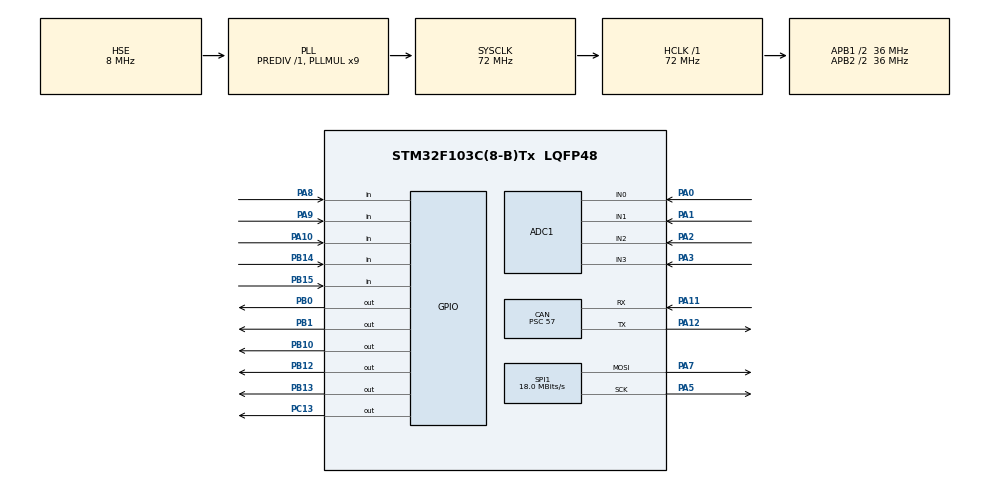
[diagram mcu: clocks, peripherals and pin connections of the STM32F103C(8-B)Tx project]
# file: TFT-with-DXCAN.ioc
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ADC1.Channel-0\#ChannelRegularConversion=ADC_CHANNEL_0
ADC1.Channel-1\#ChannelRegularConversion=ADC_CHANNEL_1
ADC1.Channel-2\#ChannelRegularConversion=ADC_CHANNEL_2
ADC1.Channel-3\#ChannelRegularConversion=ADC_CHANNEL_3
ADC1.ContinuousConvMode=ENABLE
ADC1.NbrOfConversion=4
ADC1.NbrOfConversionFlag=1
ADC1.Rank-0\#ChannelRegularConversion=1
ADC1.Rank-1\#ChannelRegularConversion=2
ADC1.Rank-2\#ChannelRegularConversion=3
ADC1.Rank-3\#ChannelRegularConversion=4
ADC1.SamplingTime-0\#ChannelRegularConversion=ADC_SAMPLETIME_1CYCLE_5
ADC1.SamplingTime-1\#ChannelRegularConversion=ADC_SAMPLETIME_1CYCLE_5
ADC1.SamplingTime-2\#ChannelRegularConversion=ADC_SAMPLETIME_1CYCLE_5
ADC1.SamplingTime-3\#ChannelRegularConversion=ADC_SAMPLETIME_1CYCLE_5
ADC1.master=1
CAN.ABOM=ENABLE
CAN.BS1=CAN_BS1_3TQ
CAN.BS2=CAN_BS2_2TQ
CAN.CalculateBaudRate=105263
CAN.CalculateTimeBit=9500
CAN.CalculateTimeQuantum=1583.3333333333335
CAN.NART=DISABLE
CAN.Prescaler=57
Dma.Request0=SPI1_TX
Dma.SPI1_TX.0.Direction=DMA_MEMORY_TO_PERIPH
Dma.SPI1_TX.0.Instance=DMA1_Channel3
Dma.SPI1_TX.0.MemDataAlignment=DMA_MDATAALIGN_BYTE
Dma.SPI1_TX.0.MemInc=DMA_MINC_ENABLE
Dma.SPI1_TX.0.Mode=DMA_NORMAL
Dma.SPI1_TX.0.PeriphDataAlignment=DMA_PDATAALIGN_BYTE
Dma.SPI1_TX.0.PeriphInc=DMA_PINC_DISABLE
Dma.SPI1_TX.0.Priority=DMA_PRIORITY_LOW
Mcu.Family=STM32F1
Mcu.Name=STM32F103C(8-B)Tx
Mcu.Package=LQFP48
NVIC.DMA1_Channel3_IRQn=true\:0\:0\:false\:false\:true\:false\:true\:true
NVIC.PriorityGroup=NVIC_PRIORITYGROUP_4
NVIC.USB_HP_CAN1_TX_IRQn=true\:0\:0\:false\:false\:true\:true\:true\:true
NVIC.USB_LP_CAN1_RX0_IRQn=true\:0\:0\:false\:false\:true\:true\:true\:true
PA0-WKUP.Signal=ADCx_IN0
PA1.Signal=ADCx_IN1
PA10.Signal=GPIO_Input
PA11.Mode=CAN_Activate
PA11.Signal=CAN_RX
PA12.Mode=CAN_Activate
PA12.Signal=CAN_TX
PA13.Mode=Serial_Wire
PA13.Signal=SYS_JTMS-SWDIO
PA14.Mode=Serial_Wire
PA14.Signal=SYS_JTCK-SWCLK
PA2.Signal=ADCx_IN2
PA3.Signal=ADCx_IN3
PA5.Mode=TX_Only_Simplex_Unidirect_Master
PA5.Signal=SPI1_SCK
PA7.Mode=TX_Only_Simplex_Unidirect_Master
PA7.Signal=SPI1_MOSI
PA8.GPIO_PuPd=GPIO_PULLUP
PA8.Signal=GPIO_Input
PA9.GPIO_PuPd=GPIO_PULLUP
PA9.Signal=GPIO_Input
PB0.Signal=GPIO_Output
PB1.Signal=GPIO_Output
PB10.Signal=GPIO_Output
PB12.Signal=GPIO_Output
PB13.Signal=GPIO_Output
PB14.GPIO_PuPd=GPIO_PULLUP
PB14.Signal=GPIO_Input
PB15.GPIO_PuPd=GPIO_PULLUP
PB15.Signal=GPIO_Input
PC13-TAMPER-RTC.Signal=GPIO_Output
PD0-OSC_IN.Mode=HSE-External-Oscillator
PD0-OSC_IN.Signal=RCC_OSC_IN
PD1-OSC_OUT.Mode=HSE-External-Oscillator
PD1-OSC_OUT.Signal=RCC_OSC_OUT
ProjectManager.HeapSize=0x200
ProjectManager.StackSize=0x400
ProjectManager.TargetToolchain=STM32CubeIDE
RCC.ADCPresc=RCC_ADCPCLK2_DIV4
RCC.AHBFreq_Value=72000000
RCC.APB1CLKDivider=RCC_HCLK_DIV2
RCC.APB1Freq_Value=36000000
RCC.APB1TimFreq_Value=72000000
RCC.APB2CLKDivider=RCC_HCLK_DIV2
RCC.APB2Freq_Value=36000000
RCC.APB2TimFreq_Value=72000000
RCC.HCLKFreq_Value=72000000
RCC.PLLMUL=RCC_PLL_MUL9
RCC.PLLSourceVirtual=RCC_PLLSOURCE_HSE
RCC.SYSCLKFreq_VALUE=72000000
RCC.SYSCLKSource=RCC_SYSCLKSOURCE_PLLCLK
RCC.USBFreq_Value=72000000
SH.ADCx_IN0.0=ADC1_IN0,IN0
SH.ADCx_IN1.0=ADC1_IN1,IN1
SH.ADCx_IN2.0=ADC1_IN2,IN2
SH.ADCx_IN3.0=ADC1_IN3,IN3
SPI1.BaudRatePrescaler=SPI_BAUDRATEPRESCALER_2
SPI1.CalculateBaudRate=18.0 MBits/s
SPI1.Direction=SPI_DIRECTION_2LINES
SPI1.Mode=SPI_MODE_MASTER
SPI1.VirtualType=VM_MASTER
board=custom

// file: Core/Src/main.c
/* USER CODE BEGIN Header */
/**

  TFT Display with CAN

  STM32F103C8T6 "BluePill"
  TFT with ILI9341 via SPI
  CAN

  ADC without DMA is explained here: https://controllerstech.com/stm32-adc-multi-channel-without-dma/

  */
/* USER CODE END Header */
#include "main.h"

/* USER CODE BEGIN Includes */
#include "canbus.h"
#include <stdio.h>
#include "testGraphics.h"
#include "flashhandler.h"
#include "ILI9341_STM32_Driver.h"
#include "ILI9341_GFX.h"
#include "scheduler.h"
#include "hardwareinterface.h"
#include "powermodule.h"

/* USER CODE END Includes */

ADC_HandleTypeDef hadc1;

CAN_HandleTypeDef hcan;

SPI_HandleTypeDef hspi1;
DMA_HandleTypeDef hdma_spi1_tx;

/* USER CODE BEGIN PV */
CAN_TxHeaderTypeDef   TxHeader;
uint8_t               TxData[8];
uint32_t              TxMailbox;
CAN_RxHeaderTypeDef canRxMsgHdr;
uint8_t canRxData[8];
uint16_t adcValues[4];

/* USER CODE END PV */

void SystemClock_Config(void);
static void MX_GPIO_Init(void);
static void MX_DMA_Init(void);
static void MX_SPI1_Init(void);
static void MX_CAN_Init(void);
static void MX_ADC1_Init(void);

/* USER CODE BEGIN 0 */
void canbus_demoTransmit(void) {
  long int rc;
  uint32_t uptime_s;
  uptime_s = HAL_GetTick() / 1000; /* the uptime in seconds */
  TxHeader.IDE = CAN_ID_STD;
  TxHeader.StdId = 0x567;
  TxHeader.RTR = CAN_RTR_DATA;
  TxHeader.DLC = 8;

  TxData[0] = (uint8_t)(uptime_s>>16);
  TxData[1] = (uint8_t)(uptime_s>>8);
  TxData[2] = (uint8_t)(uptime_s);
  TxData[3] = (uint8_t)(444>>8);
  TxData[4] = (uint8_t)(444);
  TxData[5] = 5;
  TxData[6] = 0xAF;
  TxData[7] = 0xFE;

  rc = HAL_CAN_AddTxMessage(&hcan, &TxHeader, TxData, &TxMailbox);
  if (rc != HAL_OK)
  {
   // Transmit did not work -> Error_Handler();
   //sprintf(strTmp, "HAL_CAN_AddTxMessage failed %ld", rc);
   //addToTrace(strTmp);
  } else {
   //sprintf(strTmp, "HAL_CAN_AddTxMessage ok for mailbox %ld", TxMailbox);
   //addToTrace(strTmp);
  }

}

void can_irq(CAN_HandleTypeDef *pcan) {
  nNumberOfCanInterrupts++;
  HAL_StatusTypeDef rc;
  rc = HAL_CAN_GetRxMessage(pcan, CAN_RX_FIFO0, &canRxMsgHdr, canRxData);
  if (rc==HAL_OK) {
    nNumberOfReceivedMessages++;
    canEvaluateReceivedMessage();
  }
}

void ADC_Select_CH0 (void)
{
	ADC_ChannelConfTypeDef sConfig = {0};
	  /** Configure for the selected ADC regular channel its corresponding rank in the sequencer and its sample time.
	  */
	  sConfig.Channel = ADC_CHANNEL_0;
	  sConfig.Rank = 1;
	  sConfig.SamplingTime = ADC_SAMPLETIME_28CYCLES_5;
	  if (HAL_ADC_ConfigChannel(&hadc1, &sConfig) != HAL_OK)
	  {
	    Error_Handler();
	  }
}

void ADC_Select_CH1 (void)
{
	ADC_ChannelConfTypeDef sConfig = {0};
	  /** Configure for the selected ADC regular channel its corresponding rank in the sequencer and its sample time.
	  */
	  sConfig.Channel = ADC_CHANNEL_1;
	  sConfig.Rank = 1;
	  sConfig.SamplingTime = ADC_SAMPLETIME_28CYCLES_5;
	  if (HAL_ADC_ConfigChannel(&hadc1, &sConfig) != HAL_OK)
	  {
	    Error_Handler();
	  }
}

/* USER CODE END 0 */

int main(void)
{
  /* USER CODE BEGIN 1 */
  int i;
  /* USER CODE END 1 */

  /* MCU Configuration--------------------------------------------------------*/

  /* Reset of all peripherals, Initializes the Flash interface and the Systick. */
  HAL_Init();

  /* USER CODE BEGIN Init */
  flashhandler_loadFromFlash();

  /* USER CODE END Init */

  /* Configure the system clock */
  SystemClock_Config();

  /* Initialize all configured peripherals */
  MX_GPIO_Init();
  MX_DMA_Init();
  MX_SPI1_Init();
  MX_CAN_Init();
  MX_ADC1_Init();
  /* USER CODE BEGIN 2 */
  ILI9341_Init();
  HAL_ADC_Start(&hadc1);

  setKeepPowerOn(1); /* keep the power on */

  // Simple Text writing (Text, Font, X, Y, Color, BackColor)
  // Available Fonts are FONT1, FONT2, FONT3 and FONT4
  ILI9341_FillScreen(BLACK);
  ILI9341_SetRotation(SCREEN_HORIZONTAL_2);
  ILI9341_DrawText("HELLO WORLD", FONT4, 90, 80, WHITE, BLACK);
  ILI9341_DrawText("github.com/uhi22/", FONT4, 100, 110, WHITE, BLACK);
  ILI9341_DrawText("invacare-g50-investigations", FONT4, 80, 130, WHITE, BLACK);
  for(i = 50; i <= 300; i+=3) {
	  ILI9341_DrawVLine(i, 150, 30, DARKGREEN);
	  HAL_Delay(8);
  }
  HAL_Delay(100);
  scheduler_init();
  can_init();
  powermodule_init();
  //Writing numbers
  /*
  ILI9341_FillScreen(WHITE);

  for(i = 0; i <= 5; i++)
  {
    sprintf(BufferText, "COUNT : %d", i);
    ILI9341_DrawText(BufferText, FONT3, 10, 10, BLACK, WHITE);
    ILI9341_DrawText(BufferText, FONT3, 10, 30, BLUE, WHITE);
    ILI9341_DrawText(BufferText, FONT3, 10, 50, RED, WHITE);
    ILI9341_DrawText(BufferText, FONT3, 10, 70, GREEN, WHITE);
    ILI9341_DrawText(BufferText, FONT3, 10, 90, YELLOW, WHITE);
    ILI9341_DrawText(BufferText, FONT3, 10, 110, PURPLE, WHITE);
    ILI9341_DrawText(BufferText, FONT3, 10, 130, ORANGE, WHITE);
    ILI9341_DrawText(BufferText, FONT3, 10, 150, MAROON, WHITE);
    ILI9341_DrawText(BufferText, FONT3, 10, 170, WHITE, BLACK);
    ILI9341_DrawText(BufferText, FONT3, 10, 190, BLUE, BLACK);
  }
 */
  // Horizontal Line (X, Y, Length, Color)
  //ILI9341_FillScreen(WHITE);
  //ILI9341_DrawHLine(50, 120, 200, NAVY);
  //HAL_Delay(1000);

  // Vertical Line (X, Y, Length, Color)
  //ILI9341_FillScreen(WHITE);
  //ILI9341_DrawVLine(160, 40, 150, DARKGREEN);
  //HAL_Delay(1000);

  // Hollow Circle (Centre X, Centre Y, Radius, Color)
  //ILI9341_FillScreen(WHITE);
  //ILI9341_DrawHollowCircle(160, 120, 80, PINK);
  //HAL_Delay(1000);

  // Filled Rectangle (Start X, Start Y, Length X, Length Y)
  //ILI9341_FillScreen(WHITE);
  //ILI9341_DrawRectangle(50, 50, 220, 140, GREENYELLOW);
  //HAL_Delay(1000);

  // Hollow Rectangle (Start X, Start Y, End X, End Y)
  //ILI9341_FillScreen(WHITE);
  //ILI9341_DrawHollowRectangleCoord(50, 50, 270, 190, DARKCYAN);
  //HAL_Delay(100);

  /* USER CODE END 2 */

  /* Infinite loop */
  while (1)
  {

    /* USER CODE BEGIN 3 */
      //HAL_GPIO_WritePin(GPIOC, GPIO_PIN_13, 1);
      //HAL_Delay(100);
	  scheduler_cyclic();
	  ADC_Select_CH0();
	  HAL_ADC_Start(&hadc1);
	  HAL_ADC_PollForConversion(&hadc1, 1000);
	  adcValues[0] = HAL_ADC_GetValue(&hadc1);
	  HAL_ADC_Stop(&hadc1);

	  ADC_Select_CH1();
	  HAL_ADC_Start(&hadc1);
	  HAL_ADC_PollForConversion(&hadc1, 1000);
	  adcValues[1] = HAL_ADC_GetValue(&hadc1);
	  HAL_ADC_Stop(&hadc1);
      //canbus_demoTransmit();
  }
  /* USER CODE END 3 */
}

void SystemClock_Config(void)
{
  RCC_OscInitTypeDef RCC_OscInitStruct = {0};
  RCC_ClkInitTypeDef RCC_ClkInitStruct = {0};
  RCC_PeriphCLKInitTypeDef PeriphClkInit = {0};

  /** Initializes the RCC Oscillators according to the specified parameters
  * in the RCC_OscInitTypeDef structure.
  */
  RCC_OscInitStruct.OscillatorType = RCC_OSCILLATORTYPE_HSE;
  RCC_OscInitStruct.HSEState = RCC_HSE_ON;
  RCC_OscInitStruct.HSEPredivValue = RCC_HSE_PREDIV_DIV1;
  RCC_OscInitStruct.HSIState = RCC_HSI_ON;
  RCC_OscInitStruct.PLL.PLLState = RCC_PLL_ON;
  RCC_OscInitStruct.PLL.PLLSource = RCC_PLLSOURCE_HSE;
  RCC_OscInitStruct.PLL.PLLMUL = RCC_PLL_MUL9;
  if (HAL_RCC_OscConfig(&RCC_OscInitStruct) != HAL_OK)
  {
    Error_Handler();
  }

  /** Initializes the CPU, AHB and APB buses clocks
  */
  RCC_ClkInitStruct.ClockType = RCC_CLOCKTYPE_HCLK|RCC_CLOCKTYPE_SYSCLK
                              |RCC_CLOCKTYPE_PCLK1|RCC_CLOCKTYPE_PCLK2;
  RCC_ClkInitStruct.SYSCLKSource = RCC_SYSCLKSOURCE_PLLCLK;
  RCC_ClkInitStruct.AHBCLKDivider = RCC_SYSCLK_DIV1;
  RCC_ClkInitStruct.APB1CLKDivider = RCC_HCLK_DIV2;
  RCC_ClkInitStruct.APB2CLKDivider = RCC_HCLK_DIV2;

  if (HAL_RCC_ClockConfig(&RCC_ClkInitStruct, FLASH_LATENCY_2) != HAL_OK)
  {
    Error_Handler();
  }
  PeriphClkInit.PeriphClockSelection = RCC_PERIPHCLK_ADC;
  PeriphClkInit.AdcClockSelection = RCC_ADCPCLK2_DIV4;
  if (HAL_RCCEx_PeriphCLKConfig(&PeriphClkInit) != HAL_OK)
  {
    Error_Handler();
  }
}

static void MX_ADC1_Init(void)
{

  /* USER CODE BEGIN ADC1_Init 1 */

  uint8_t sConfig; /* This is to create a compile error ("conflicting types"), to detect the case
                      that the CubeMX generated this function new. For using the ADC in
                      single, manually triggered mode, we need to patch this function, by
                      removing all generated code. Afterwards, the compile error disappears. */

  /** Common config *** manually written. */
  hadc1.Instance = ADC1;
  hadc1.Init.ScanConvMode = ADC_SCAN_ENABLE;
  hadc1.Init.ContinuousConvMode = ENABLE;
  hadc1.Init.DiscontinuousConvMode = DISABLE;
  hadc1.Init.ExternalTrigConv = ADC_SOFTWARE_START;
  hadc1.Init.DataAlign = ADC_DATAALIGN_RIGHT;
  hadc1.Init.NbrOfConversion = 1; /* patched: we use 4 channels, but need to set 1 here. */
  if (HAL_ADC_Init(&hadc1) != HAL_OK)
  {
    Error_Handler();
  }
  /* USER CODE END ADC1_Init 1 */

  /** Common config
  */

}

static void MX_CAN_Init(void)
{

  hcan.Instance = CAN1;
  hcan.Init.Prescaler = 57;
  hcan.Init.Mode = CAN_MODE_NORMAL;
  hcan.Init.SyncJumpWidth = CAN_SJW_1TQ;
  hcan.Init.TimeSeg1 = CAN_BS1_3TQ;
  hcan.Init.TimeSeg2 = CAN_BS2_2TQ;
  hcan.Init.TimeTriggeredMode = DISABLE;
  hcan.Init.AutoBusOff = ENABLE;
  hcan.Init.AutoWakeUp = DISABLE;
  hcan.Init.AutoRetransmission = DISABLE;
  hcan.Init.ReceiveFifoLocked = DISABLE;
  hcan.Init.TransmitFifoPriority = DISABLE;
  if (HAL_CAN_Init(&hcan) != HAL_OK)
  {
    Error_Handler();
  }
  /* USER CODE BEGIN CAN_Init 2 */
  CAN_FilterTypeDef sf;
  sf.FilterMaskIdHigh = 0x0000;
  sf.FilterMaskIdLow = 0x0000;
  sf.FilterFIFOAssignment = CAN_FILTER_FIFO0;
  sf.FilterBank = 0;
  sf.FilterMode = CAN_FILTERMODE_IDMASK;
  sf.FilterScale = CAN_FILTERSCALE_32BIT;
  sf.FilterActivation = CAN_FILTER_ENABLE;
  if (HAL_CAN_ConfigFilter(&hcan, &sf) != HAL_OK) {
    Error_Handler();
  }

  if (HAL_CAN_RegisterCallback(&hcan, HAL_CAN_RX_FIFO0_MSG_PENDING_CB_ID, can_irq)) {
    Error_Handler();
  }
  if (HAL_CAN_RegisterCallback(&hcan, HAL_CAN_TX_MAILBOX0_COMPLETE_CB_ID, can_mailbox0_complete_irq)) {
    Error_Handler();
  }
  if (HAL_CAN_RegisterCallback(&hcan, HAL_CAN_TX_MAILBOX1_COMPLETE_CB_ID, can_mailbox0_complete_irq)) {
    Error_Handler();
  }
  if (HAL_CAN_RegisterCallback(&hcan, HAL_CAN_TX_MAILBOX2_COMPLETE_CB_ID, can_mailbox0_complete_irq)) {
    Error_Handler();
  }
  if (HAL_CAN_Start(&hcan) != HAL_OK) {
    Error_Handler();
  }

  if (HAL_CAN_ActivateNotification(&hcan, CAN_IT_RX_FIFO0_MSG_PENDING) != HAL_OK) {
    Error_Handler();
  }
  if (HAL_CAN_ActivateNotification(&hcan, CAN_IT_TX_MAILBOX_EMPTY) != HAL_OK) {
    Error_Handler();
  }
  nNumberOfReceivedMessages=0;
  /* USER CODE END CAN_Init 2 */

}

static void MX_SPI1_Init(void)
{

  /* SPI1 parameter configuration*/
  hspi1.Instance = SPI1;
  hspi1.Init.Mode = SPI_MODE_MASTER;
  hspi1.Init.Direction = SPI_DIRECTION_2LINES;
  hspi1.Init.DataSize = SPI_DATASIZE_8BIT;
  hspi1.Init.CLKPolarity = SPI_POLARITY_LOW;
  hspi1.Init.CLKPhase = SPI_PHASE_1EDGE;
  hspi1.Init.NSS = SPI_NSS_SOFT;
  hspi1.Init.BaudRatePrescaler = SPI_BAUDRATEPRESCALER_2;
  hspi1.Init.FirstBit = SPI_FIRSTBIT_MSB;
  hspi1.Init.TIMode = SPI_TIMODE_DISABLE;
  hspi1.Init.CRCCalculation = SPI_CRCCALCULATION_DISABLE;
  hspi1.Init.CRCPolynomial = 10;
  if (HAL_SPI_Init(&hspi1) != HAL_OK)
  {
    Error_Handler();
  }

}

static void MX_DMA_Init(void)
{

  /* DMA controller clock enable */
  __HAL_RCC_DMA1_CLK_ENABLE();

  /* DMA interrupt init */
  /* DMA1_Channel3_IRQn interrupt configuration */
  HAL_NVIC_SetPriority(DMA1_Channel3_IRQn, 0, 0);
  HAL_NVIC_EnableIRQ(DMA1_Channel3_IRQn);

}

static void MX_GPIO_Init(void)
{
  GPIO_InitTypeDef GPIO_InitStruct = {0};

  /* GPIO Ports Clock Enable */
  __HAL_RCC_GPIOC_CLK_ENABLE();
  __HAL_RCC_GPIOD_CLK_ENABLE();
  __HAL_RCC_GPIOA_CLK_ENABLE();
  __HAL_RCC_GPIOB_CLK_ENABLE();

  /*Configure GPIO pin Output Level */
  HAL_GPIO_WritePin(GPIOC, GPIO_PIN_13, GPIO_PIN_RESET);

  /*Configure GPIO pin Output Level */
  HAL_GPIO_WritePin(GPIOB, GPIO_PIN_0|GPIO_PIN_1|GPIO_PIN_10|GPIO_PIN_12
                          |GPIO_PIN_13, GPIO_PIN_RESET);

  /*Configure GPIO pin : PC13 */
  GPIO_InitStruct.Pin = GPIO_PIN_13;
  GPIO_InitStruct.Mode = GPIO_MODE_OUTPUT_PP;
  GPIO_InitStruct.Pull = GPIO_NOPULL;
  GPIO_InitStruct.Speed = GPIO_SPEED_FREQ_LOW;
  HAL_GPIO_Init(GPIOC, &GPIO_InitStruct);

  /*Configure GPIO pins : PB0 PB1 PB10 PB12
                           PB13 */
  GPIO_InitStruct.Pin = GPIO_PIN_0|GPIO_PIN_1|GPIO_PIN_10|GPIO_PIN_12
                          |GPIO_PIN_13;
  GPIO_InitStruct.Mode = GPIO_MODE_OUTPUT_PP;
  GPIO_InitStruct.Pull = GPIO_NOPULL;
  GPIO_InitStruct.Speed = GPIO_SPEED_FREQ_LOW;
  HAL_GPIO_Init(GPIOB, &GPIO_InitStruct);

  /*Configure GPIO pins : PB14 PB15 */
  GPIO_InitStruct.Pin = GPIO_PIN_14|GPIO_PIN_15;
  GPIO_InitStruct.Mode = GPIO_MODE_INPUT;
  GPIO_InitStruct.Pull = GPIO_PULLUP;
  HAL_GPIO_Init(GPIOB, &GPIO_InitStruct);

  /*Configure GPIO pins : PA8 PA9 */
  GPIO_InitStruct.Pin = GPIO_PIN_8|GPIO_PIN_9;
  GPIO_InitStruct.Mode = GPIO_MODE_INPUT;
  GPIO_InitStruct.Pull = GPIO_PULLUP;
  HAL_GPIO_Init(GPIOA, &GPIO_InitStruct);

  /*Configure GPIO pin : PA10 */
  GPIO_InitStruct.Pin = GPIO_PIN_10;
  GPIO_InitStruct.Mode = GPIO_MODE_INPUT;
  GPIO_InitStruct.Pull = GPIO_NOPULL;
  HAL_GPIO_Init(GPIOA, &GPIO_InitStruct);

}

void Error_Handler(void)
{
  __disable_irq();
  while (1)
  {
  }
}
